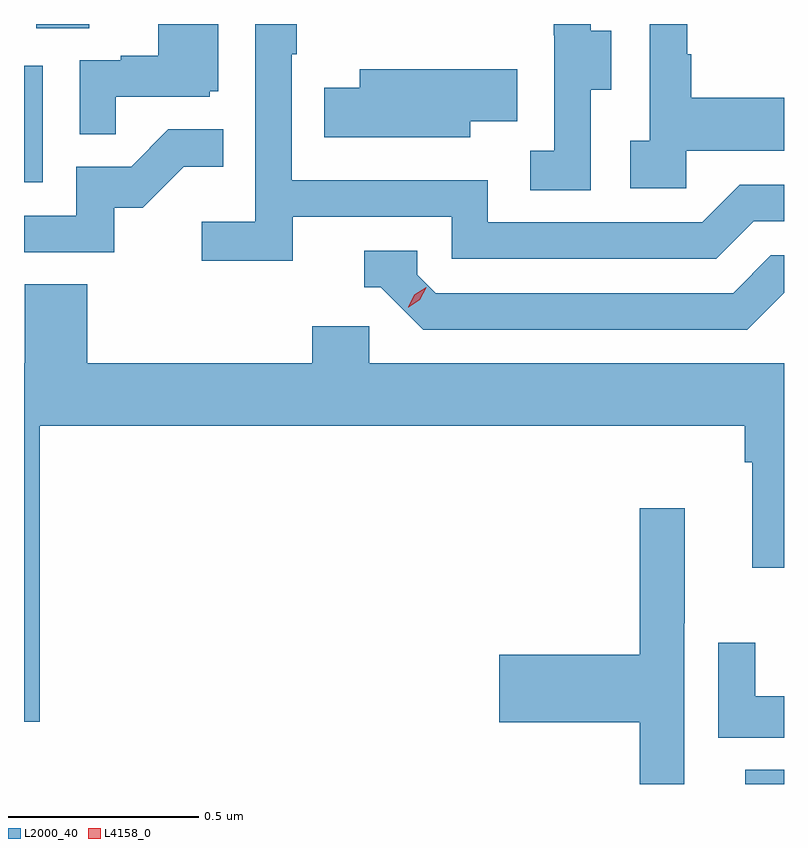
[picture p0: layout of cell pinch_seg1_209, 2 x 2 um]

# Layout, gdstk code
import gdstk
lib = gdstk.Library(unit=1e-6, precision=1e-09)
def R(c, l, rs):  # rectangles x0, y0, x1, y1
    for r in rs: c.add(gdstk.rectangle(r[:2], r[2:], *l))
def P(c, l, *ps):  # polygons
    for p in ps: c.add(gdstk.Polygon(p, *l))
L2000_40 = (2000, 40)
L4158_0 = (4158, 0)

pinch_seg1_209 = lib.new_cell('pinch_seg1_209')
R(pinch_seg1_209, L2000_40, [(995.615,572.101,995.717,572.138), (993.717,573.684,993.766,573.991), (993.749,574.09,993.889,574.101)])
P(pinch_seg1_209, L2000_40, [(995.208,573.928),(995.263,573.928),(995.263,574.083),(995.209,574.083),(995.209,574.101),(995.111,574.101),(995.111,574.071),(995.112,574.071),(995.112,573.767),(995.049,573.767),(995.049,573.664),(995.208,573.664)],
  [(994.424,573.594),(994.842,573.594),(994.842,573.483),(995.539,573.483),(995.638,573.582),(995.717,573.582),(995.717,573.678),(995.601,573.678),(995.502,573.579),(994.938,573.579),(994.938,573.69),(994.422,573.69),(994.422,574.021),(994.435,574.021),(994.435,574.101),(994.326,574.101),(994.326,573.58),(994.185,573.58),(994.185,573.478),(994.424,573.478)],
  [(995.46,573.767),(995.717,573.767),(995.717,573.907),(995.473,573.907),(995.473,574.022),(995.463,574.022),(995.463,574.101),(995.364,574.101),(995.364,573.794),(995.313,573.794),(995.313,573.669),(995.46,573.669)],
  [(993.959,573.909),(994.206,573.909),(994.206,573.924),(994.228,573.924),(994.228,574.101),(994.07,574.101),(994.07,574.018),(993.971,574.018),(993.971,574.005),(993.864,574.005),(993.864,573.811),(993.959,573.811)],
  [(994.891,573.845),(995.015,573.845),(995.015,573.982),(994.601,573.982),(994.601,573.933),(994.507,573.933),(994.507,573.803),(994.891,573.803)],
  [(993.954,573.618),(994.03,573.618),(994.137,573.725),(994.241,573.725),(994.241,573.824),(994.097,573.824),(993.999,573.726),(993.855,573.726),(993.855,573.597),(993.717,573.597),(993.717,573.501),(993.954,573.501)],
  [(995.717,573.394),(995.717,573.492),(995.682,573.492),(995.583,573.393),(994.8,573.393),(994.752,573.441),(994.752,573.504),(994.613,573.504),(994.613,573.408),(994.656,573.408),(994.767,573.297),(995.62,573.297)],
  [(993.758,573.044),(995.614,573.044),(995.614,572.948),(995.633,572.948),(995.633,572.67),(995.717,572.67),(995.717,573.208),(994.626,573.208),(994.626,573.306),(994.475,573.306),(994.475,573.208),(993.884,573.208),(993.884,573.416),(993.719,573.416),(993.719,573.208),(993.717,573.208),(993.717,572.265),(993.758,572.265)],
  [(995.454,572.524),(995.456,572.524),(995.456,572.827),(995.338,572.827),(995.338,572.441),(994.968,572.441),(994.968,572.263),(995.338,572.263),(995.338,572.101),(995.454,572.101)],
  [(995.717,572.332),(995.641,572.332),(995.641,572.473),(995.544,572.473),(995.544,572.223),(995.717,572.223)])
P(pinch_seg1_209, L4158_0, [(994.728,573.355),(994.728,573.356),(994.744,573.388),(994.775,573.408),(994.775,573.408),(994.775,573.407),(994.759,573.375),(994.729,573.355)])

lib.write_gds('pinch_seg1_209.gds')
